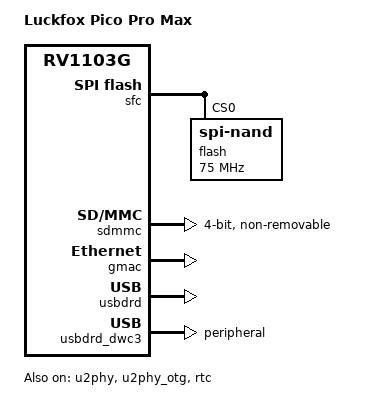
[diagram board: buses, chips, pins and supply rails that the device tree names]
// SPDX-License-Identifier: (GPL-2.0+ OR MIT)
/*
 * Copyright (c) 2022 Rockchip Electronics Co., Ltd.
 */

/dts-v1/;

#include "rv1106.dtsi"
#include "rv1106-evb.dtsi"
#include "rv1106-luckfox-pico-pro-max-ipc.dtsi"

/ {
	model = "Luckfox Pico Pro Max";
	compatible = "rockchip,rv1103g-38x38-ipc-v10", "rockchip,rv1106g3";
};

/**********CRU**********/
//&cru {
//	assigned-clocks =
//		<&cru PLL_GPLL>, <&cru PLL_CPLL>,
//		<&cru ARMCLK>,
//		<&cru ACLK_PERI_ROOT>, <&cru HCLK_PERI_ROOT>,
//		<&cru PCLK_PERI_ROOT>, <&cru ACLK_BUS_ROOT>,
//		<&cru PCLK_TOP_ROOT>, <&cru PCLK_PMU_ROOT>,
//		<&cru HCLK_PMU_ROOT>, <&cru CLK_500M_SRC>;
//	assigned-clock-rates =
//		<1188000000>, <700000000>,
//		<1104000000>,
//		<400000000>, <200000000>,
//		<100000000>, <300000000>,
//		<100000000>, <100000000>,
//		<200000000>, <700000000>;
//};

/**********NPU**********/
//&npu {
//	assigned-clock-rates = <700000000>;
//};

/**********FLASH**********/
&sfc {
	status = "okay";
	flash@0 {
		compatible = "spi-nand";
		reg = <0>;
		spi-max-frequency = <75000000>;
		spi-rx-bus-width = <4>;
		spi-tx-bus-width = <1>;
	};
};

/**********SDMMC**********/
&sdmmc {
	max-freqency = <50000000>;
	no-mmc;
	bus-width = <4>;
	cap-mmc-highspeed;
	cap-sd-highspeed;
	disable-wp;

	//sdio
	cap-sdio-irq;
	non-removable;
	no-1-8-v;
	supports-sdio;

	pinctrl-names = "default";
	pinctrl-0 = <&sdmmc0_clk &sdmmc0_cmd &sdmmc0_det &sdmmc0_bus4>;
	status = "okay";
};

/**********ETH**********/
&gmac {
	/*
	 * The Rockchip vendor-storage MTD (SPI NAND) does not probe on this
	 * board (SFC reports raw ID 0x0000000000), and the OE wic/SD layout has
	 * no ENVF env block, so U-Boot cannot supply a persistent ethaddr and the
	 * kernel falls back to a random MAC on every boot. Pin a stable
	 * locally-administered address (bit 1 of the first octet set) until the
	 * vendor-storage / ENVF path is fixed. Change per board if several run on
	 * the same LAN.
	 */
	local-mac-address = [02 be ef 11 06 01];
	status = "okay";
};

/*
 * On kernel 6.6 the integrated RV1106 FEPHY links at 100 Mbps but large frames
 * are corrupted on the wire (small packets and 10 Mbps are fine), so force the
 * link to 10 Mbps where RMII signalling is far more tolerant. Ethernet and SSH
 * are reliable at 10 Mbps. Remove this override to attempt 100 Mbps again.
 */
&rmii_phy {
	max-speed = <10>;
};

/**********USB**********/
&u2phy {
	status = "okay";
};

&u2phy_otg {
	rockchip,dis-u2-susphy;
	status = "okay";
};

&usbdrd {
	status = "okay";
};

&usbdrd_dwc3 {
	status = "okay";
	dr_mode = "peripheral";
};

/**********SPI**********/
&spi0 {
	status = "disabled";
	spidev@0 {
		spi-max-frequency = <50000000>;
	};
	fbtft@0 {
		spi-max-frequency = <50000000>;
	};
};

/**********I2C**********/
/* I2C3_M1 */
&i2c3 {
	status = "disabled";
	clock-frequency = <100000>;
};

/* I2C1_M1 */
&i2c1 {
	status = "disabled";
	clock-frequency = <100000>;
};


/**********UART**********/
/* UART3_M1 */
&uart3 {
	status = "disabled";
};

/* UART4_M1 */
&uart4 {
	status = "disabled";
};

/**********RTC**********/
&rtc {
	status = "okay";
};
